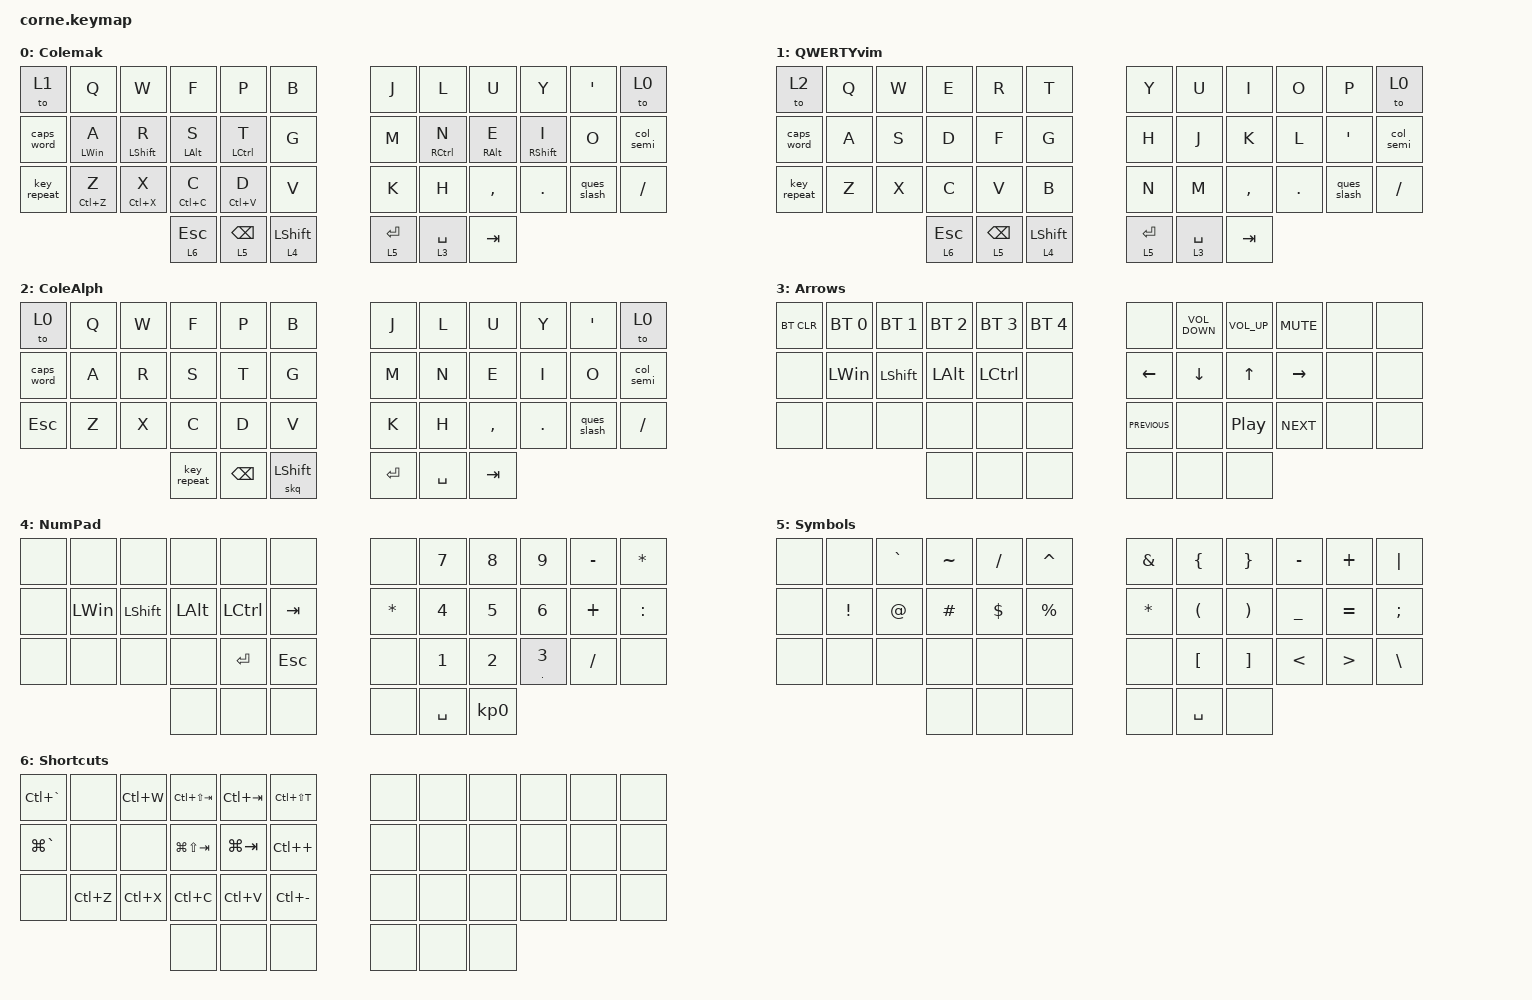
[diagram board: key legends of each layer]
/*
 * Copyright (c) 2020 The ZMK Contributors
 *
 * SPDX-License-Identifier: MIT
 */

#include <behaviors.dtsi>
#include <dt-bindings/zmk/bt.h>
#include <dt-bindings/zmk/keys.h>

/ {
    behaviors {
        hml: hml {
            compatible = "zmk,behavior-hold-tap";
            label = "HOMEROW_MODS_LEFT";
            bindings = <&kp>, <&kp>;

            #binding-cells = <2>;
            tapping-term-ms = <200>;
            hold-trigger-key-positions = <39 40 41 30 18 6 7 19 31 32 20 8 9 21 33 34 22 10 11 23 35 2 14 13 37 38 15 16>;
            flavor = "tap-preferred";
            require-prior-idle-ms = <300>;
        };

        hmr: hmr {
            compatible = "zmk,behavior-hold-tap";
            label = "HOMEROW_MODS_RIGHT";
            bindings = <&kp>, <&kp>;

            #binding-cells = <2>;
            tapping-term-ms = <200>;
            hold-trigger-key-positions = <12 0 1 2 3 4 5 12 13 14 15 16 17 24 25 26 27 28 29 36 37 38 20 19 21>;
            flavor = "tap-preferred";
            require-prior-idle-ms = <300>;
        };

        lp: lp {
            compatible = "zmk,behavior-hold-tap";
            label = "LONG_PRESS";
            bindings = <&kp>, <&kp>;

            #binding-cells = <2>;
            tapping-term-ms = <200>;
            flavor = "tap-preferred";
            require-prior-idle-ms = <300>;
        };

        skq: skq {
            compatible = "zmk,behavior-sticky-key";
            label = "sticky_key_quick_release";
            #binding-cells = <1>;
            bindings = <&kp>;

            release-after-ms = <1000>;
            quick-release;
            ignore-modifiers;
        };

        mo_ss: behavior_mo_ss {
            compatible = "zmk,behavior-hold-tap";
            label = "mo_ss";
            #binding-cells = <2>;
            bindings = <&mo>, <&skq>;

            tapping-term-ms = <200>;
            flavor = "tap-preferred";
        };

        col_semi: colon_semicolon {
            compatible = "zmk,behavior-mod-morph";
            #binding-cells = <0>;
            bindings = <&kp COLON>, <&kp SEMI>;
            mods = <(MOD_LSFT|MOD_RSFT)>;
        };

        ques_slash: ques_slash {
            compatible = "zmk,behavior-mod-morph";
            #binding-cells = <0>;
            bindings = <&kp QUESTION>, <&kp SLASH>;
            mods = <(MOD_LSFT|MOD_RSFT)>;
        };
    };

    keymap {
        compatible = "zmk,keymap";

        default_layer {
            label = "Colemak";
            bindings = <
&to 1                   &kp Q              &kp W              &kp F                 &kp P                &kp B                      &kp J           &kp L                    &kp U                  &kp Y               &kp SINGLE_QUOTE            &to 0
&caps_word              &hml LEFT_WIN A    &hml LEFT_SHIFT R  &hml LEFT_ALT S       &hml LEFT_CONTROL T  &kp G                      &kp M           &hmr RIGHT_CONTROL N     &hmr RIGHT_ALT E       &hmr RIGHT_SHIFT I  &kp O                       &col_semi
&key_repeat             &lp LC(Z) Z        &lp LC(X) X        &lp LC(C) C           &lp LC(V) D          &kp V                      &kp K           &kp H                    &kp COMMA              &kp PERIOD          &ques_slash                 &kp SLASH
                                                              &lt 6 ESC             &lt 5 BACKSPACE      &mo_ss 4 LSHIFT            &lt 5 RET       &lt 3 SPACE              &kp TAB
            >;
        };
        qwerty {
            label = "QWERTYvim";
            bindings = <
&to 2                   &kp Q             &kp W               &kp E                 &kp R                &kp T                      &kp Y           &kp U                    &kp I                  &kp O               &kp P                       &to 0
&caps_word              &kp A             &kp S               &kp D                 &kp F                &kp G                      &kp H           &kp J                    &kp K                  &kp L               &kp SINGLE_QUOTE            &col_semi
&key_repeat             &kp Z             &kp X               &kp C                 &kp V                &kp B                      &kp N           &kp M                    &kp COMMA              &kp DOT             &ques_slash                 &kp SLASH
                                                              &lt 6 ESC             &lt 5 BACKSPACE      &mo_ss 4 LSHIFT            &lt 5 RET       &lt 3 SPACE              &kp TAB
            >;
        };
        colemak_alpha {
            label = "ColeAlph";
            bindings = <
&to 0                   &kp Q              &kp W              &kp F                 &kp P                &kp B                      &kp J           &kp L                    &kp U                   &kp Y               &kp SINGLE_QUOTE           &to 0
&caps_word              &kp A              &kp R              &kp S                 &kp T                &kp G                      &kp M           &kp N                    &kp E                   &kp I               &kp O                      &col_semi
&kp ESC                 &kp Z              &kp X              &kp C                 &kp D                &kp V                      &kp K           &kp H                    &kp COMMA               &kp PERIOD          &ques_slash                &kp SLASH
                                                              &key_repeat           &kp BACKSPACE        &skq LSHIFT                &kp RET         &kp SPACE                &kp TAB
            >;
        };
        arrows_layer {
            label = "Arrows";
            bindings = <
&bt BT_CLR              &bt BT_SEL 0        &bt BT_SEL 1      &bt BT_SEL 2          &bt BT_SEL 3         &bt BT_SEL 4               &none           &kp C_VOLUME_DOWN        &kp C_VOLUME_UP        &kp C_MUTE         &none                       &none 
&none                   &kp LEFT_WIN        &kp LEFT_SHIFT    &kp LEFT_ALT          &kp LEFT_CONTROL     &none                      &kp LEFT_ARROW  &kp DOWN_ARROW           &kp UP_ARROW           &kp RIGHT_ARROW    &none                       &none 
&none                   &none               &none             &none                 &none                &none                      &kp C_PREVIOUS  &none                    &kp C_PLAY_PAUSE       &kp C_NEXT         &none                       &none 
                                                              &none                 &none                &none                      &none           &none                    &none 
            >;
        };
        numpad_layer {
            label = "NumPad";
            bindings = <
&none                   &none               &none             &none                &none                 &none                     &none           &kp N7                    &kp N8                 &kp N9             &kp MINUS                  &kp ASTERISK
&none                   &kp LEFT_WIN        &kp LEFT_SHIFT    &kp LEFT_ALT         &kp LEFT_CONTROL      &kp TAB                   &kp ASTERISK    &kp N4                    &kp N5                 &kp N6             &kp PLUS                   &kp COLON
&none                   &none               &none             &none                &kp RET               &kp ESC                   &none           &kp N1                    &kp N2                 &lp PERIOD N3      &kp SLASH                  &none
                                                              &none                &none                 &none                     &none           &kp SPACE                 &kp KP_NUMBER_0
            >;
        };
        symbols {
            label = "Symbols";
            bindings = <
&none                   &none               &kp GRAVE         &kp TILDE            &kp SLASH             &kp CARET                 &kp AMPERSAND   &kp LEFT_BRACE            &kp RIGHT_BRACE        &kp MINUS           &kp PLUS                  &kp PIPE
&none                   &kp EXCLAMATION     &kp AT_SIGN       &kp POUND            &kp DOLLAR            &kp PERCENT               &kp ASTERISK    &kp LEFT_PARENTHESIS      &kp RIGHT_PARENTHESIS  &kp UNDERSCORE      &kp EQUAL                 &kp SEMICOLON 
&none                   &none               &none             &none                &none                 &none                     &none           &kp LEFT_BRACKET          &kp RIGHT_BRACKET      &kp LESS_THAN       &kp GREATER_THAN          &kp BACKSLASH
                                                              &none                &none                 &none                     &none           &kp SPACE                 &none 
            >;
        };
        shortcut {
            label = "Shortcuts";
            bindings = <
&kp LC(GRAVE)           &none               &kp LC(W)         &kp LC(LS(TAB))      &kp LC(TAB)          &kp LC(LS(T))              &none           &none                     &none                  &none               &none                    &none
&kp LG(GRAVE)           &none               &none             &kp LG(LS(TAB))      &kp LG(TAB)          &kp LC(PLUS)               &none           &none                     &none                  &none               &none                    &none
&none                   &kp LC(Z)           &kp LC(X)         &kp LC(C)            &kp LC(V)            &kp LC(MINUS)              &none           &none                     &none                  &none               &none                    &none
                                                              &none                &none                &none                      &none           &none                     &none
            >;
        };
    };
};
